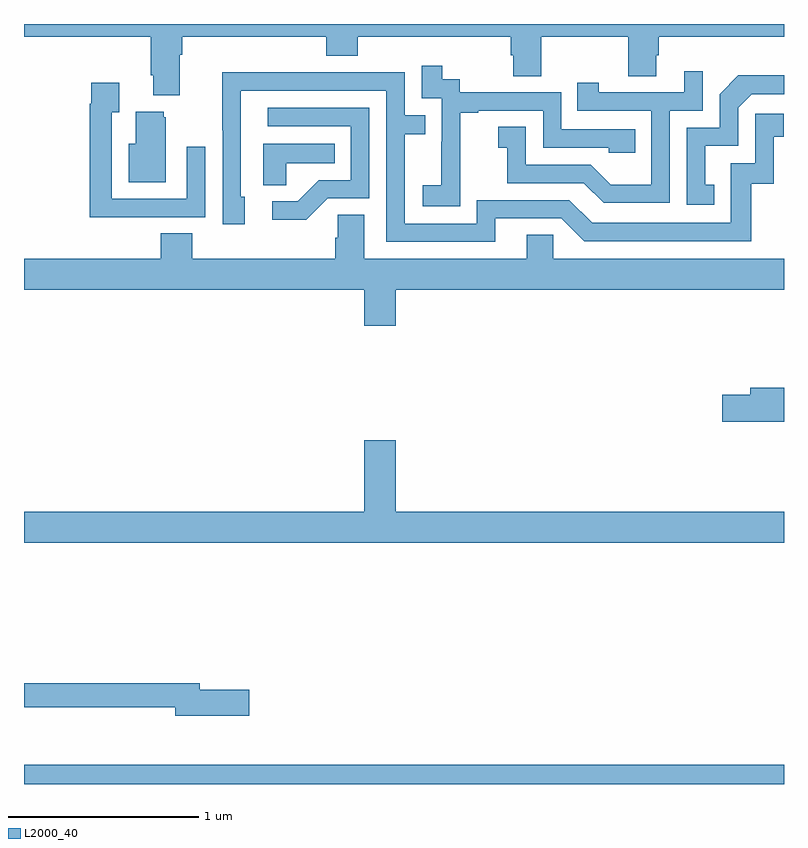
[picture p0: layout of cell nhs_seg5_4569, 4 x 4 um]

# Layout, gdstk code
import gdstk
lib = gdstk.Library(unit=1e-6, precision=1e-09)
def R(c, l, rs):  # rectangles x0, y0, x1, y1
    for r in rs: c.add(gdstk.rectangle(r[:2], r[2:], *l))
def P(c, l, *ps):  # polygons
    for p in ps: c.add(gdstk.Polygon(p, *l))
L2000_40 = (2000, 40)

nhs_seg5_4569 = lib.new_cell('nhs_seg5_4569')
R(nhs_seg5_4569, L2000_40, [(379,880.799,383,880.9)])
P(nhs_seg5_4569, L2000_40, [(381.563,884.634),(381.575,884.634),(381.575,884.524),(381.723,884.524),(381.723,884.732),(382.18,884.732),(382.18,884.524),(382.327,884.524),(382.327,884.634),(382.34,884.634),(382.34,884.732),(383,884.732),(383,884.799),(379,884.799),(379,884.732),(379.667,884.732),(379.667,884.53),(379.679,884.53),(379.679,884.423),(379.819,884.423),(379.819,884.636),(379.832,884.636),(379.832,884.732),(380.591,884.732),(380.591,884.633),(380.756,884.633),(380.756,884.732),(381.563,884.732)],
  [(381.297,884.047),(381.296,884.047),(381.296,884.331),(381.391,884.331),(381.391,884.343),(381.732,884.343),(381.732,884.148),(382.077,884.148),(382.077,884.121),(382.217,884.121),(382.217,884.244),(381.828,884.244),(381.828,884.439),(381.294,884.439),(381.294,884.508),(381.202,884.508),(381.202,884.578),(381.093,884.578),(381.093,884.409),(381.198,884.409),(381.198,884.18),(381.197,884.18),(381.197,883.951),(381.099,883.951),(381.099,883.841),(381.297,883.841)],
  [(382.398,884.343),(382.572,884.343),(382.572,884.551),(382.475,884.551),(382.475,884.439),(382.024,884.439),(382.024,884.491),(381.913,884.491),(381.913,884.343),(382.302,884.343),(382.302,883.954),(382.088,883.954),(381.984,884.058),(381.642,884.058),(381.642,884.257),(381.495,884.257),(381.495,884.147),(381.544,884.147),(381.544,883.962),(381.947,883.962),(382.052,883.857),(382.398,883.857)],
  [(381.481,883.776),(381.828,883.776),(381.948,883.656),(382.828,883.656),(382.828,883.959),(382.946,883.959),(382.946,884.205),(382.999,884.205),(382.999,884.326),(382.848,884.326),(382.848,884.067),(382.719,884.067),(382.719,883.752),(381.99,883.752),(381.87,883.872),(381.384,883.872),(381.384,883.749),(381.003,883.749),(381.003,884.218),(381.113,884.218),(381.113,884.319),(381.003,884.319),(381.003,884.544),(380.507,884.544),(380.507,884.546),(380.044,884.546),(380.044,884.239),(380.046,884.239),(380.046,883.746),(380.161,883.746),(380.161,883.89),(380.142,883.89),(380.142,884.448),(380.907,884.448),(380.907,883.653),(381.481,883.653)],
  [(382.634,883.953),(382.585,883.953),(382.585,884.157),(382.758,884.157),(382.758,884.358),(382.83,884.43),(383,884.43),(383,884.528),(382.76,884.528),(382.662,884.43),(382.662,884.253),(382.488,884.253),(382.488,883.848),(382.634,883.848)],
  [(379.637,883.782),(379.953,883.782),(379.953,884.152),(379.857,884.152),(379.857,883.878),(379.461,883.878),(379.461,884.335),(379.501,884.335),(379.501,884.491),(379.353,884.491),(379.353,884.378),(379.345,884.378),(379.345,883.781),(379.637,883.781)],
  [(380.598,883.881),(380.817,883.881),(380.817,884.358),(380.283,884.358),(380.283,884.262),(380.721,884.262),(380.721,883.977),(380.552,883.977),(380.441,883.866),(380.307,883.866),(380.307,883.769),(380.485,883.769)],
  [(379.747,884.307),(379.736,884.307),(379.736,884.338),(379.589,884.338),(379.589,884.17),(379.55,884.17),(379.55,883.967),(379.747,883.967)],
  [(380.379,884.066),(380.636,884.066),(380.636,884.17),(380.258,884.17),(380.258,883.951),(380.379,883.951)],
  [(380.791,883.796),(380.652,883.796),(380.652,883.673),(380.639,883.673),(380.639,883.564),(379.886,883.564),(379.886,883.697),(379.721,883.697),(379.721,883.564),(379,883.564),(379,883.4),(380.792,883.4),(380.792,883.212),(380.956,883.212),(380.956,883.4),(383,883.4),(383,883.564),(381.786,883.564),(381.786,883.691),(381.647,883.691),(381.647,883.564),(380.791,883.564)],
  [(383,882.884),(382.823,882.884),(382.823,882.848),(382.674,882.848),(382.674,882.706),(383,882.706)],
  [(383,882.232),(380.956,882.232),(380.956,882.607),(380.792,882.607),(380.792,882.232),(379,882.232),(379,882.068),(383,882.068)],
  [(380.185,881.294),(379.924,881.294),(379.924,881.33),(379,881.33),(379,881.202),(379.796,881.202),(379.796,881.159),(380.185,881.159)])

lib.write_gds('nhs_seg5_4569.gds')
